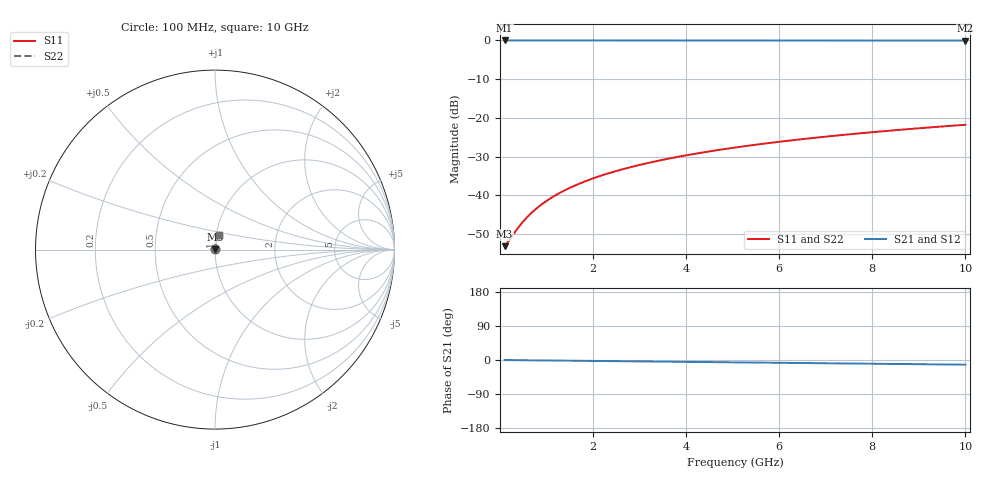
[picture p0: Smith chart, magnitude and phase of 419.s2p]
# Hz S RI R 50.00
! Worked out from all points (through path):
!   100 points, 100 MHz to 10 GHz, reference 50 ohm
!   highest |S21| = -0.02 dB at 100 MHz (marker M1); lowest = 0.0 dB at 10 GHz (marker M2)
!   group delay of S21, straight-line fit = 3.42 ps
!   lowest |S11| = -53.1 dB at 100 MHz (marker M3), VSWR 1.00, Z = 50.2 + j0.0818 ohm
!   |S11| at or under -10 dB: start of sweep to end of sweep
!   |S22| runs from -53.1 to -21.8 dB; largest |S21 - S12| = 0
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1e8  0.00205 0.000814  0.998 -0.00214  0.998 -0.00214  0.00205 0.000814
2e8  0.00206 0.00163  0.9979 -0.00428  0.9979 -0.00428  0.00206 0.00163
4e8  0.0021 0.00326  0.9979 -0.00856  0.9979 -0.00856  0.0021 0.00326
5e8  0.00212 0.00407  0.9978 -0.0107  0.9978 -0.0107  0.00212 0.00407
6e8  0.00215 0.00488  0.9978 -0.0128  0.9978 -0.0128  0.00215 0.00488
7e8  0.00218 0.0057  0.9978 -0.015  0.9978 -0.015  0.00218 0.0057
8e8  0.00221 0.00651  0.9977 -0.0171  0.9977 -0.0171  0.00221 0.00651
1e9  0.00228 0.00814  0.9976 -0.0214  0.9976 -0.0214  0.00228 0.00814
1.2e9  0.00236 0.00977  0.9975 -0.0257  0.9975 -0.0257  0.00236 0.00977
1.5e9  0.00251 0.0122  0.9973 -0.0321  0.9973 -0.0321  0.00251 0.0122
1.8e9  0.00269 0.0146  0.997 -0.0385  0.997 -0.0385  0.00269 0.0146
2.1e9  0.0029 0.0171  0.9967 -0.0449  0.9967 -0.0449  0.0029 0.0171
2.5e9  0.00323 0.0203  0.9962 -0.0534  0.9962 -0.0534  0.00323 0.0203
2.9e9  0.00362 0.0235  0.9956 -0.062  0.9956 -0.062  0.00362 0.0235
3.4e9  0.00418 0.0276  0.9948 -0.0727  0.9948 -0.0727  0.00418 0.0276
4.2e9  0.00525 0.034  0.9931 -0.0897  0.9931 -0.0897  0.00525 0.034
5.1e9  0.00672 0.0412  0.9909 -0.1088  0.9909 -0.1088  0.00672 0.0412
5.9e9  0.00825 0.0475  0.9886 -0.1258  0.9886 -0.1258  0.00825 0.0475
6.7e9  0.01 0.0538  0.9859 -0.1427  0.9859 -0.1427  0.01 0.0538
7.5e9  0.012 0.06  0.9829 -0.1596  0.9829 -0.1596  0.012 0.06
8.4e9  0.0145 0.0669  0.9792 -0.1785  0.9792 -0.1785  0.0145 0.0669
1e10  0.0195 0.079  0.9715 -0.2119  0.9715 -0.2119  0.0195 0.079
